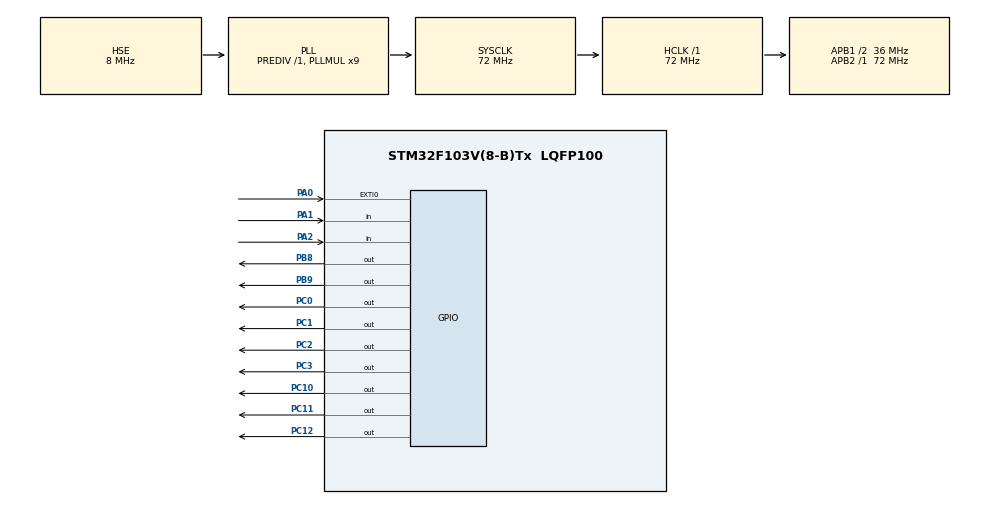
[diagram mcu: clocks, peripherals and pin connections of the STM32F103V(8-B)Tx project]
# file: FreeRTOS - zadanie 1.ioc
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FREERTOS.BinarySemaphores01=myBinarySem01,Dynamic,NULL;myBinarySem02,Dynamic,NULL
FREERTOS.Events01=E_PB8,Dynamic,NULL
FREERTOS.Queues01=myQueue01,1,uint16_t,0,Dynamic,NULL,NULL;myQueue02,1,uint16_t,0,Dynamic,NULL,NULL
FREERTOS.Tasks01=defaultTask,24,128,StartDefaultTask,Default,NULL,Dynamic,NULL,NULL;myTask02,24,128,StartTask02,Default,NULL,Dynamic,NULL,NULL;myTask03,24,128,StartTask03,Default,NULL,Dynamic,NULL,NULL;myTask04,24,128,StartTask04,Default,NULL,Dynamic,NULL,NULL
Mcu.Family=STM32F1
Mcu.Name=STM32F103V(8-B)Tx
Mcu.Package=LQFP100
NVIC.EXTI0_IRQn=true\:5\:0\:false\:false\:true\:true\:true\:true\:true
NVIC.PriorityGroup=NVIC_PRIORITYGROUP_4
NVIC.TIM2_IRQn=true\:15\:0\:false\:false\:true\:false\:false\:true\:true
NVIC.TIM3_IRQn=true\:5\:0\:false\:false\:true\:true\:true\:true\:true
NVIC.TimeBase=TIM2_IRQn
NVIC.TimeBaseIP=TIM2
OSC_IN.Mode=HSE-External-Oscillator
OSC_IN.Signal=RCC_OSC_IN
OSC_OUT.Mode=HSE-External-Oscillator
OSC_OUT.Signal=RCC_OSC_OUT
PA0-WKUP.Signal=GPXTI0
PA1.Signal=GPIO_Input
PA13.Mode=JTAG_5_pins
PA13.Signal=SYS_JTMS-SWDIO
PA14.Mode=JTAG_5_pins
PA14.Signal=SYS_JTCK-SWCLK
PA15.Mode=JTAG_5_pins
PA15.Signal=SYS_JTDI
PA2.Signal=GPIO_Input
PB3.Mode=JTAG_5_pins
PB3.Signal=SYS_JTDO-TRACESWO
PB4.Mode=JTAG_5_pins
PB4.Signal=SYS_NJTRST
PB8.Signal=GPIO_Output
PB9.Signal=GPIO_Output
PC0.Signal=GPIO_Output
PC1.Signal=GPIO_Output
PC10.Signal=GPIO_Output
PC11.Signal=GPIO_Output
PC12.Signal=GPIO_Output
PC14-OSC32_IN.Mode=LSE-External-Oscillator
PC14-OSC32_IN.Signal=RCC_OSC32_IN
PC15-OSC32_OUT.Mode=LSE-External-Oscillator
PC15-OSC32_OUT.Signal=RCC_OSC32_OUT
PC2.Signal=GPIO_Output
PC3.Signal=GPIO_Output
ProjectManager.HeapSize=0x200
ProjectManager.StackSize=0x400
ProjectManager.TargetToolchain=STM32CubeIDE
RCC.AHBFreq_Value=72000000
RCC.APB1CLKDivider=RCC_HCLK_DIV2
RCC.APB1Freq_Value=36000000
RCC.APB1TimFreq_Value=72000000
RCC.APB2Freq_Value=72000000
RCC.APB2TimFreq_Value=72000000
RCC.HCLKFreq_Value=72000000
RCC.PLLMUL=RCC_PLL_MUL9
RCC.PLLSourceVirtual=RCC_PLLSOURCE_HSE
RCC.SYSCLKFreq_VALUE=72000000
RCC.SYSCLKSource=RCC_SYSCLKSOURCE_PLLCLK
RCC.USBFreq_Value=72000000
TIM3.Channel-Output\ Compare1\ No\ Output=TIM_CHANNEL_1
TIM3.ClockDivision=TIM_CLOCKDIVISION_DIV2
TIM3.Prescaler=35999
TIM3.Pulse-Output\ Compare1\ No\ Output=29999
VP_FREERTOS_VS_CMSIS_V2.Mode=CMSIS_V2
VP_SYS_VS_tim2.Mode=TIM2
VP_TIM3_VS_ClockSourceINT.Mode=Internal
VP_TIM3_VS_no_output1.Mode=Output Compare1 No Output
board=custom

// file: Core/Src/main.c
/* USER CODE BEGIN Header */
/**
  ******************************************************************************
  * @file           : main.c
  * @brief          : Main program body
  ******************************************************************************
  * @attention
  *
  * Copyright (c) 2023 STMicroelectronics.
  * All rights reserved.
  *
  * This software is licensed under terms that can be found in the LICENSE file
  * in the root directory of this software component.
  * If no LICENSE file comes with this software, it is provided AS-IS.
  *
  ******************************************************************************
  */
/* USER CODE END Header */
#include "main.h"
#include "cmsis_os.h"

/* USER CODE BEGIN Includes */
#include "lcd4bit.h"
#include "stdio.h"
/* USER CODE END Includes */

/* USER CODE BEGIN PD */
#define PB8 *((volatile unsigned long*) 0x422181A0)
#define PB9 *((volatile unsigned long*) 0x422181A4)
#define PA1 *((volatile unsigned long*) 0x42210104)
#define PA2 *((volatile unsigned long*) 0x42210108)
/* USER CODE END PD */

TIM_HandleTypeDef htim3;

/* Definitions for defaultTask */
osThreadId_t defaultTaskHandle;
const osThreadAttr_t defaultTask_attributes = {
  .name = "defaultTask",
  .stack_size = 128 * 4,
  .priority = (osPriority_t) osPriorityNormal,
};
/* Definitions for myTask02 */
osThreadId_t myTask02Handle;
const osThreadAttr_t myTask02_attributes = {
  .name = "myTask02",
  .stack_size = 128 * 4,
  .priority = (osPriority_t) osPriorityNormal,
};
/* Definitions for myTask03 */
osThreadId_t myTask03Handle;
const osThreadAttr_t myTask03_attributes = {
  .name = "myTask03",
  .stack_size = 128 * 4,
  .priority = (osPriority_t) osPriorityNormal,
};
/* Definitions for myTask04 */
osThreadId_t myTask04Handle;
const osThreadAttr_t myTask04_attributes = {
  .name = "myTask04",
  .stack_size = 128 * 4,
  .priority = (osPriority_t) osPriorityNormal,
};
/* Definitions for myQueue01 */
osMessageQueueId_t myQueue01Handle;
const osMessageQueueAttr_t myQueue01_attributes = {
  .name = "myQueue01"
};
/* Definitions for myQueue02 */
osMessageQueueId_t myQueue02Handle;
const osMessageQueueAttr_t myQueue02_attributes = {
  .name = "myQueue02"
};
/* Definitions for myBinarySem01 */
osSemaphoreId_t myBinarySem01Handle;
const osSemaphoreAttr_t myBinarySem01_attributes = {
  .name = "myBinarySem01"
};
/* Definitions for myBinarySem02 */
osSemaphoreId_t myBinarySem02Handle;
const osSemaphoreAttr_t myBinarySem02_attributes = {
  .name = "myBinarySem02"
};
/* Definitions for E_PB8 */
osEventFlagsId_t E_PB8Handle;
const osEventFlagsAttr_t E_PB8_attributes = {
  .name = "E_PB8"
};
/* USER CODE BEGIN PV */

Lcd_PortType ports[] = {GPIOC, GPIOC, GPIOC, GPIOC};
Lcd_PinType pins[] = {GPIO_PIN_3, GPIO_PIN_2, GPIO_PIN_1, GPIO_PIN_0};
Lcd_HandleTypeDef lcd;
/* USER CODE END PV */

void SystemClock_Config(void);
static void MX_GPIO_Init(void);
static void MX_TIM3_Init(void);
void StartDefaultTask(void *argument);
void StartTask02(void *argument);
void StartTask03(void *argument);
void StartTask04(void *argument);

int main(void)
{

  /* MCU Configuration--------------------------------------------------------*/

  /* Reset of all peripherals, Initializes the Flash interface and the Systick. */
  HAL_Init();

  /* Configure the system clock */
  SystemClock_Config();

  /* Initialize all configured peripherals */
  MX_GPIO_Init();
  MX_TIM3_Init();
  /* USER CODE BEGIN 2 */
  lcd = Lcd_create(ports, pins, GPIOC, GPIO_PIN_12, GPIOC, GPIO_PIN_10, LCD_4_BIT_MODE);
  Lcd_string(&lcd,"Witaj!");
  HAL_TIM_OC_Start_IT(&htim3, TIM_CHANNEL_1);
  /* USER CODE END 2 */

  /* Init scheduler */
  osKernelInitialize();

  /* Create the semaphores(s) */
  /* creation of myBinarySem01 */
  myBinarySem01Handle = osSemaphoreNew(1, 0, &myBinarySem01_attributes);

  /* creation of myBinarySem02 */
  myBinarySem02Handle = osSemaphoreNew(1, 0, &myBinarySem02_attributes);

  /* Create the queue(s) */
  /* creation of myQueue01 */
  myQueue01Handle = osMessageQueueNew (1, sizeof(uint16_t), &myQueue01_attributes);

  /* creation of myQueue02 */
  myQueue02Handle = osMessageQueueNew (1, sizeof(uint16_t), &myQueue02_attributes);

  /* Create the thread(s) */
  /* creation of defaultTask */
  defaultTaskHandle = osThreadNew(StartDefaultTask, NULL, &defaultTask_attributes);

  /* creation of myTask02 */
  myTask02Handle = osThreadNew(StartTask02, NULL, &myTask02_attributes);

  /* creation of myTask03 */
  myTask03Handle = osThreadNew(StartTask03, NULL, &myTask03_attributes);

  /* creation of myTask04 */
  myTask04Handle = osThreadNew(StartTask04, NULL, &myTask04_attributes);

  /* Create the event(s) */
  /* creation of E_PB8 */
  E_PB8Handle = osEventFlagsNew(&E_PB8_attributes);

  /* Start scheduler */
  osKernelStart();
  /* We should never get here as control is now taken by the scheduler */
  /* Infinite loop */
  while (1)
  {

  }
}

void SystemClock_Config(void)
{
  RCC_OscInitTypeDef RCC_OscInitStruct = {0};
  RCC_ClkInitTypeDef RCC_ClkInitStruct = {0};

  /** Initializes the RCC Oscillators according to the specified parameters
  * in the RCC_OscInitTypeDef structure.
  */
  RCC_OscInitStruct.OscillatorType = RCC_OSCILLATORTYPE_HSE;
  RCC_OscInitStruct.HSEState = RCC_HSE_ON;
  RCC_OscInitStruct.HSEPredivValue = RCC_HSE_PREDIV_DIV1;
  RCC_OscInitStruct.HSIState = RCC_HSI_ON;
  RCC_OscInitStruct.PLL.PLLState = RCC_PLL_ON;
  RCC_OscInitStruct.PLL.PLLSource = RCC_PLLSOURCE_HSE;
  RCC_OscInitStruct.PLL.PLLMUL = RCC_PLL_MUL9;
  if (HAL_RCC_OscConfig(&RCC_OscInitStruct) != HAL_OK)
  {
    Error_Handler();
  }

  /** Initializes the CPU, AHB and APB buses clocks
  */
  RCC_ClkInitStruct.ClockType = RCC_CLOCKTYPE_HCLK|RCC_CLOCKTYPE_SYSCLK
                              |RCC_CLOCKTYPE_PCLK1|RCC_CLOCKTYPE_PCLK2;
  RCC_ClkInitStruct.SYSCLKSource = RCC_SYSCLKSOURCE_PLLCLK;
  RCC_ClkInitStruct.AHBCLKDivider = RCC_SYSCLK_DIV1;
  RCC_ClkInitStruct.APB1CLKDivider = RCC_HCLK_DIV2;
  RCC_ClkInitStruct.APB2CLKDivider = RCC_HCLK_DIV1;

  if (HAL_RCC_ClockConfig(&RCC_ClkInitStruct, FLASH_LATENCY_2) != HAL_OK)
  {
    Error_Handler();
  }
}

static void MX_TIM3_Init(void)
{

  TIM_ClockConfigTypeDef sClockSourceConfig = {0};
  TIM_MasterConfigTypeDef sMasterConfig = {0};
  TIM_OC_InitTypeDef sConfigOC = {0};

  htim3.Instance = TIM3;
  htim3.Init.Prescaler = 35999;
  htim3.Init.CounterMode = TIM_COUNTERMODE_UP;
  htim3.Init.Period = 65535;
  htim3.Init.ClockDivision = TIM_CLOCKDIVISION_DIV2;
  htim3.Init.AutoReloadPreload = TIM_AUTORELOAD_PRELOAD_DISABLE;
  if (HAL_TIM_Base_Init(&htim3) != HAL_OK)
  {
    Error_Handler();
  }
  sClockSourceConfig.ClockSource = TIM_CLOCKSOURCE_INTERNAL;
  if (HAL_TIM_ConfigClockSource(&htim3, &sClockSourceConfig) != HAL_OK)
  {
    Error_Handler();
  }
  if (HAL_TIM_OC_Init(&htim3) != HAL_OK)
  {
    Error_Handler();
  }
  sMasterConfig.MasterOutputTrigger = TIM_TRGO_RESET;
  sMasterConfig.MasterSlaveMode = TIM_MASTERSLAVEMODE_DISABLE;
  if (HAL_TIMEx_MasterConfigSynchronization(&htim3, &sMasterConfig) != HAL_OK)
  {
    Error_Handler();
  }
  sConfigOC.OCMode = TIM_OCMODE_TIMING;
  sConfigOC.Pulse = 29999;
  sConfigOC.OCPolarity = TIM_OCPOLARITY_HIGH;
  sConfigOC.OCFastMode = TIM_OCFAST_DISABLE;
  if (HAL_TIM_OC_ConfigChannel(&htim3, &sConfigOC, TIM_CHANNEL_1) != HAL_OK)
  {
    Error_Handler();
  }

}

static void MX_GPIO_Init(void)
{
  GPIO_InitTypeDef GPIO_InitStruct = {0};

  /* GPIO Ports Clock Enable */
  __HAL_RCC_GPIOC_CLK_ENABLE();
  __HAL_RCC_GPIOA_CLK_ENABLE();
  __HAL_RCC_GPIOB_CLK_ENABLE();

  /*Configure GPIO pin Output Level */
  HAL_GPIO_WritePin(GPIOC, GPIO_PIN_0|GPIO_PIN_1|GPIO_PIN_2|GPIO_PIN_3
                          |GPIO_PIN_10|GPIO_PIN_11|GPIO_PIN_12, GPIO_PIN_RESET);

  /*Configure GPIO pin Output Level */
  HAL_GPIO_WritePin(GPIOB, GPIO_PIN_8|GPIO_PIN_9, GPIO_PIN_RESET);

  /*Configure GPIO pins : PC0 PC1 PC2 PC3
                           PC10 PC11 PC12 */
  GPIO_InitStruct.Pin = GPIO_PIN_0|GPIO_PIN_1|GPIO_PIN_2|GPIO_PIN_3
                          |GPIO_PIN_10|GPIO_PIN_11|GPIO_PIN_12;
  GPIO_InitStruct.Mode = GPIO_MODE_OUTPUT_PP;
  GPIO_InitStruct.Pull = GPIO_NOPULL;
  GPIO_InitStruct.Speed = GPIO_SPEED_FREQ_LOW;
  HAL_GPIO_Init(GPIOC, &GPIO_InitStruct);

  /*Configure GPIO pin : PA0 */
  GPIO_InitStruct.Pin = GPIO_PIN_0;
  GPIO_InitStruct.Mode = GPIO_MODE_IT_RISING;
  GPIO_InitStruct.Pull = GPIO_NOPULL;
  HAL_GPIO_Init(GPIOA, &GPIO_InitStruct);

  /*Configure GPIO pins : PA1 PA2 */
  GPIO_InitStruct.Pin = GPIO_PIN_1|GPIO_PIN_2;
  GPIO_InitStruct.Mode = GPIO_MODE_INPUT;
  GPIO_InitStruct.Pull = GPIO_NOPULL;
  HAL_GPIO_Init(GPIOA, &GPIO_InitStruct);

  /*Configure GPIO pins : PB8 PB9 */
  GPIO_InitStruct.Pin = GPIO_PIN_8|GPIO_PIN_9;
  GPIO_InitStruct.Mode = GPIO_MODE_OUTPUT_PP;
  GPIO_InitStruct.Pull = GPIO_NOPULL;
  GPIO_InitStruct.Speed = GPIO_SPEED_FREQ_LOW;
  HAL_GPIO_Init(GPIOB, &GPIO_InitStruct);

  /* EXTI interrupt init*/
  HAL_NVIC_SetPriority(EXTI0_IRQn, 5, 0);
  HAL_NVIC_EnableIRQ(EXTI0_IRQn);

}

/* USER CODE BEGIN 4 */
void HAL_TIM_OC_DelayElapsedCallback(TIM_HandleTypeDef *htim)
{
	static uint32_t f_PB8;
	f_PB8=osEventFlagsGet(E_PB8Handle);
	if (f_PB8 == 0x00000001U)
		osSemaphoreRelease(myBinarySem02Handle);
}

void HAL_GPIO_EXTI_Callback(uint16_t GPIO_Pin)
	{
		static uint32_t f_PB8;
		static int time=0;
		f_PB8=osEventFlagsGet(E_PB8Handle);
		if (osMessageQueueGetCount(myQueue01Handle)>0)
			osMessageQueueGet(myQueue01Handle, &time,NULL,0);
		if (f_PB8==0x00000000U && GPIO_Pin==GPIO_PIN_0 && time>0)
			{
			osSemaphoreRelease(myBinarySem01Handle);
			__HAL_TIM_SET_COUNTER(&htim3,0);
			__HAL_TIM_SetCompare(&htim3,TIM_CHANNEL_1, time);
			}

	};
/* USER CODE END 4 */

void StartDefaultTask(void *argument)
{
  /* USER CODE BEGIN 5 */
  /* Infinite loop */
  for(;;)
  {
	  PB9=PB9^0x01;
	  osDelay(1000);
  }
  /* USER CODE END 5 */
}

void StartTask02(void *argument)
{
  /* USER CODE BEGIN StartTask02 */
  /* Infinite loop */
  for(;;)
  {
		if (PB8==0)
			{
			osEventFlagsClear(E_PB8Handle,0x00000001U);
			osSemaphoreAcquire(myBinarySem01Handle, osWaitForever);
			PB8=1;
			}
		else
			{
			osEventFlagsSet(E_PB8Handle,0x00000001U);
			osSemaphoreAcquire(myBinarySem02Handle, osWaitForever);
			PB8=0;
			};
  }
  /* USER CODE END StartTask02 */
}

void StartTask03(void *argument)
{
  /* USER CODE BEGIN StartTask03 */
	int time=29999;
		int time_t;
	  /* Infinite loop */
		if (osMessageQueueGetCount(myQueue01Handle)==0)
						osMessageQueuePut(myQueue01Handle, &time,0,0);
		if (osMessageQueueGetCount(myQueue02Handle)==0)
						osMessageQueuePut(myQueue02Handle, &time,0,0);
	  for(;;)
	  {
			if (PA1==0 && time<59999)
				{
					if (osMessageQueueGetCount(myQueue01Handle)>0)
						osMessageQueueGet(myQueue01Handle, &time_t,0,0);
					if (osMessageQueueGetCount(myQueue02Handle)>0)
						osMessageQueueGet(myQueue02Handle, &time_t,0,0);
					time=time+200;
					if (osMessageQueueGetCount(myQueue01Handle)==0)
						osMessageQueuePut(myQueue01Handle, &time,0,0);
					if (osMessageQueueGetCount(myQueue02Handle)==0)
						osMessageQueuePut(myQueue02Handle, &time,0,0);
					while(PA1==0);
				};
			if (PA2==0 && time>199)
				{
					if (osMessageQueueGetCount(myQueue01Handle)>0)
						osMessageQueueGet(myQueue01Handle, &time_t,0,0);
					if (osMessageQueueGetCount(myQueue02Handle)>0)
						osMessageQueueGet(myQueue02Handle, &time_t,0,0);
					time=time-200;
					if (osMessageQueueGetCount(myQueue01Handle)==0)
						osMessageQueuePut(myQueue01Handle, &time,0,0);
					if (osMessageQueueGetCount(myQueue02Handle)==0)
						osMessageQueuePut(myQueue02Handle, &time,0,0);
					while(PA2==0);
				}

	  }
}

void StartTask04(void *argument)
{
	/* USER CODE BEGIN StartTask04 */
		uint32_t f_PB8;
		int time=0;
		float time2=0;
		char text[10];

	  /* Infinite loop */
	  for(;;)
	  {
			f_PB8=osEventFlagsGet(E_PB8Handle);
			if (osMessageQueueGetCount(myQueue02Handle)>0)
				osMessageQueueGet(myQueue02Handle, &time,NULL,0);
	    if (f_PB8==0x00000001U)
				time2=((float)__HAL_TIM_GET_COUNTER(&htim3))/2000.0;
			else
				time2=0.0;
			sprintf(text, "%2.3f", (double) (time+1)/2000);
			Lcd_cursor(&lcd,1,0);
			Lcd_string(&lcd,text);
			Lcd_cursor(&lcd,1,8);
			sprintf(text, "%2.3f", time2);
			Lcd_string(&lcd,text);
			osDelay(500);
			Lcd_clear(&lcd);
		}
	  /* USER CODE END StartTask04 */
}

void HAL_TIM_PeriodElapsedCallback(TIM_HandleTypeDef *htim)
{
  if (htim->Instance == TIM2) {
    HAL_IncTick();
  }
}

void Error_Handler(void)
{
  __disable_irq();
  while (1)
  {
  }
}
